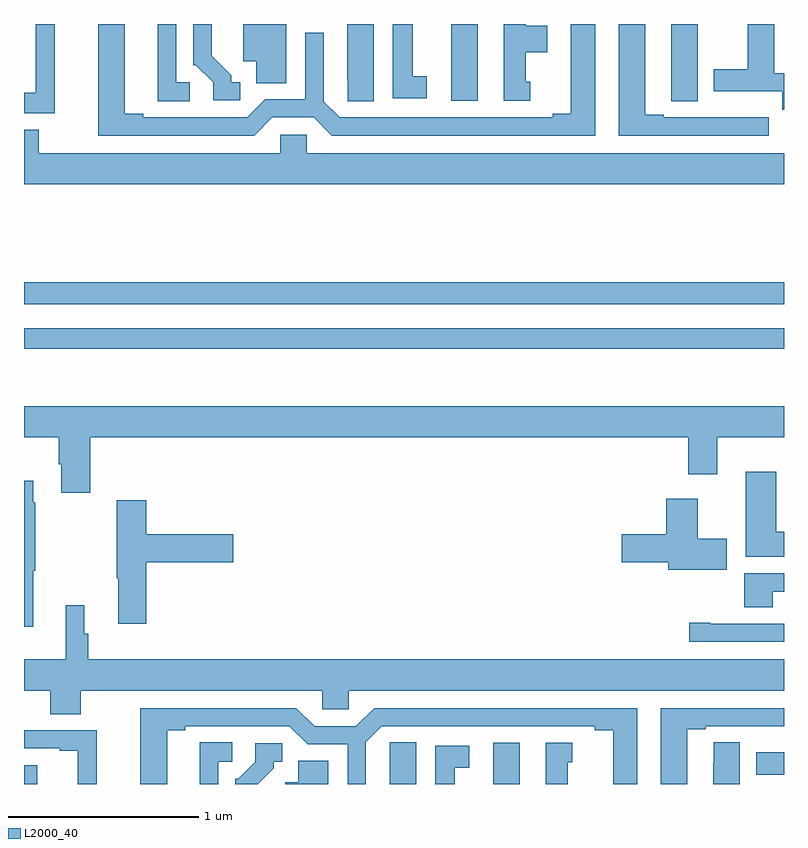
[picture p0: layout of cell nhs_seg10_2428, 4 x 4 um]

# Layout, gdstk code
import gdstk
lib = gdstk.Library(unit=1e-6, precision=1e-09)
def R(c, l, rs):  # rectangles x0, y0, x1, y1
    for r in rs: c.add(gdstk.rectangle(r[:2], r[2:], *l))
def P(c, l, *ps):  # polygons
    for p in ps: c.add(gdstk.Polygon(p, *l))
L2000_40 = (2000, 40)

nhs_seg10_2428 = lib.new_cell('nhs_seg10_2428')
R(nhs_seg10_2428, L2000_40, [(241,1290.5,241.069,1290.598), (243.47,1290.5,243.61,1290.718), (244.853,1290.55,245,1290.666), (241,1292.79,245,1292.898), (241,1293.024,245,1293.14), (243.248,1294.095,243.388,1294.5)])
P(nhs_seg10_2428, L2000_40, [(243.664,1294.197),(243.64,1294.197),(243.64,1294.352),(243.754,1294.352),(243.754,1294.492),(243.64,1294.492),(243.64,1294.5),(243.524,1294.5),(243.524,1294.095),(243.664,1294.095)],
  [(245,1294.242),(244.948,1294.242),(244.948,1294.5),(244.808,1294.5),(244.808,1294.263),(244.631,1294.263),(244.631,1294.146),(244.99,1294.146),(244.99,1294.05),(245,1294.05)],
  [(243.121,1294.226),(243.046,1294.226),(243.046,1294.5),(242.942,1294.5),(242.942,1294.11),(243.121,1294.11)],
  [(242.137,1294.194),(242.092,1294.194),(242.092,1294.229),(241.987,1294.334),(241.987,1294.5),(241.89,1294.5),(241.89,1294.284),(241.905,1294.284),(241.995,1294.194),(241.995,1294.098),(242.137,1294.098)],
  [(244.921,1294.008),(244.808,1294.008),(244.808,1294.009),(244.642,1294.009),(244.642,1294.008),(244.366,1294.008),(244.366,1294.023),(244.27,1294.023),(244.27,1294.5),(244.13,1294.5),(244.13,1293.912),(244.921,1293.912)],
  [(242.38,1294.5),(242.153,1294.5),(242.153,1294.304),(242.222,1294.304),(242.222,1294.189),(242.38,1294.189)],
  [(242.842,1294.5),(242.702,1294.5),(242.702,1294.201),(242.703,1294.201),(242.703,1294.093),(242.842,1294.093)],
  [(242.307,1294.008),(242.525,1294.008),(242.621,1293.912),(244.006,1293.912),(244.006,1294.5),(243.878,1294.5),(243.878,1294.028),(243.782,1294.028),(243.782,1294.008),(242.661,1294.008),(242.577,1294.092),(242.577,1294.453),(242.481,1294.453),(242.481,1294.104),(242.271,1294.104),(242.175,1294.008),(241.627,1294.008),(241.627,1294.028),(241.531,1294.028),(241.531,1294.5),(241.391,1294.5),(241.391,1293.912),(242.211,1293.912)],
  [(244.546,1294.5),(244.406,1294.5),(244.406,1294.201),(244.407,1294.201),(244.407,1294.093),(244.546,1294.093)],
  [(241.161,1294.5),(241.061,1294.5),(241.061,1294.138),(241,1294.138),(241,1294.029),(241.161,1294.029)],
  [(241.873,1294.194),(241.8,1294.194),(241.8,1294.5),(241.703,1294.5),(241.703,1294.093),(241.873,1294.093)],
  [(245,1293.82),(242.487,1293.82),(242.487,1293.918),(242.349,1293.918),(242.349,1293.82),(241.077,1293.82),(241.077,1293.944),(241,1293.944),(241,1293.656),(245,1293.656)],
  [(241.349,1292.324),(244.496,1292.324),(244.496,1292.13),(244.648,1292.13),(244.648,1292.324),(245,1292.324),(245,1292.488),(241,1292.488),(241,1292.324),(241.184,1292.324),(241.184,1292.182),(241.196,1292.182),(241.196,1292.034),(241.349,1292.034)],
  [(245,1291.828),(244.96,1291.828),(244.96,1292.143),(244.799,1292.143),(244.799,1291.697),(245,1291.697)],
  [(241.048,1291.623),(241.06,1291.623),(241.06,1291.982),(241.048,1291.982),(241.048,1292.095),(241,1292.095),(241,1291.328),(241.048,1291.328)],
  [(244.699,1291.791),(244.546,1291.791),(244.546,1292.002),(244.379,1292.002),(244.379,1291.814),(244.146,1291.814),(244.146,1291.667),(244.391,1291.667),(244.391,1291.628),(244.699,1291.628)],
  [(241.643,1291.667),(242.101,1291.667),(242.101,1291.814),(241.643,1291.814),(241.643,1291.993),(241.489,1291.993),(241.489,1291.583),(241.496,1291.583),(241.496,1291.344),(241.643,1291.344)],
  [(244.942,1291.512),(245,1291.512),(245,1291.608),(244.79,1291.608),(244.79,1291.429),(244.942,1291.429)],
  [(241.299,1290.992),(242.571,1290.992),(242.571,1290.894),(242.709,1290.894),(242.709,1290.992),(245,1290.992),(245,1291.156),(241.337,1291.156),(241.337,1291.29),(241.318,1291.29),(241.318,1291.441),(241.219,1291.441),(241.219,1291.156),(241,1291.156),(241,1290.992),(241.139,1290.992),(241.139,1290.868),(241.299,1290.868)],
  [(245,1291.344),(244.612,1291.344),(244.612,1291.349),(244.5,1291.349),(244.5,1291.248),(245,1291.248)],
  [(241.753,1290.784),(241.849,1290.784),(241.849,1290.804),(242.397,1290.804),(242.493,1290.708),(242.703,1290.708),(242.703,1290.5),(242.799,1290.5),(242.799,1290.72),(242.883,1290.804),(244.004,1290.804),(244.004,1290.784),(244.1,1290.784),(244.1,1290.5),(244.228,1290.5),(244.228,1290.9),(242.843,1290.9),(242.747,1290.804),(242.529,1290.804),(242.433,1290.9),(241.613,1290.9),(241.613,1290.5),(241.753,1290.5)],
  [(244.492,1290.789),(244.588,1290.789),(244.588,1290.804),(244.864,1290.804),(244.864,1290.803),(245,1290.803),(245,1290.9),(244.352,1290.9),(244.352,1290.5),(244.492,1290.5)],
  [(241.383,1290.783),(241,1290.783),(241,1290.687),(241.187,1290.687),(241.187,1290.675),(241.283,1290.675),(241.283,1290.5),(241.383,1290.5)],
  [(242.022,1290.618),(242.095,1290.618),(242.095,1290.719),(241.925,1290.719),(241.925,1290.5),(242.022,1290.5)],
  [(244.768,1290.719),(244.629,1290.719),(244.629,1290.611),(244.628,1290.611),(244.628,1290.5),(244.768,1290.5)],
  [(243.064,1290.719),(242.925,1290.719),(242.925,1290.611),(242.924,1290.611),(242.924,1290.5),(243.064,1290.5)],
  [(243.862,1290.615),(243.886,1290.615),(243.886,1290.718),(243.746,1290.718),(243.746,1290.5),(243.862,1290.5)],
  [(242.314,1290.583),(242.314,1290.618),(242.359,1290.618),(242.359,1290.714),(242.217,1290.714),(242.217,1290.618),(242.127,1290.528),(242.112,1290.528),(242.112,1290.5),(242.231,1290.5)],
  [(243.268,1290.586),(243.343,1290.586),(243.343,1290.702),(243.164,1290.702),(243.164,1290.5),(243.268,1290.5)],
  [(242.602,1290.623),(242.444,1290.623),(242.444,1290.508),(242.375,1290.508),(242.375,1290.5),(242.602,1290.5)])

lib.write_gds('nhs_seg10_2428.gds')
